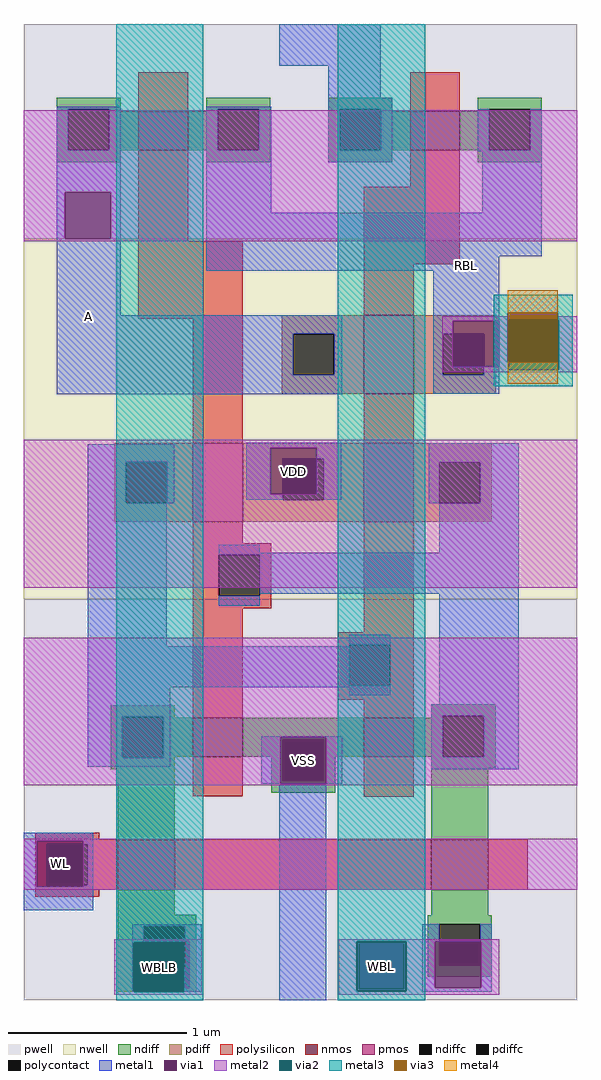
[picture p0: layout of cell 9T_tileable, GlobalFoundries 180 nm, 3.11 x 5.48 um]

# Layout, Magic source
magic
tech gf180mcuD
magscale 1 10
<< nwell >>
rect -143 -79 479 326
<< pwell >>
rect -143 326 479 567
rect -143 -529 479 -79
<< nmos >>
rect -14 425 42 469
rect 291 425 347 469
rect 47 -256 103 -212
rect 239 -256 295 -212
rect -37 -405 27 -349
rect 315 -405 379 -349
<< pmos >>
rect 239 152 295 240
rect 47 8 103 96
rect 239 8 295 96
<< ndiff >>
rect -106 471 -34 484
rect -106 425 -93 471
rect -47 469 -34 471
rect 62 471 134 484
rect 62 469 75 471
rect -47 425 -14 469
rect 42 425 75 469
rect 121 425 134 471
rect -106 412 -34 425
rect 62 412 134 425
rect 199 471 271 484
rect 199 425 212 471
rect 258 469 271 471
rect 367 471 439 484
rect 367 469 380 471
rect 258 425 291 469
rect 347 425 380 469
rect 426 425 439 471
rect 199 412 271 425
rect 367 412 439 425
rect -45 -211 27 -198
rect -45 -257 -32 -211
rect 14 -212 27 -211
rect 315 -210 387 -197
rect 315 -212 328 -210
rect 14 -256 47 -212
rect 103 -237 239 -212
rect 103 -256 148 -237
rect 14 -257 27 -256
rect -45 -270 27 -257
rect -37 -349 27 -270
rect 135 -283 148 -256
rect 194 -256 239 -237
rect 295 -256 328 -212
rect 374 -256 387 -210
rect 194 -283 207 -256
rect 135 -296 207 -283
rect 315 -268 387 -256
rect 315 -349 379 -268
rect -37 -433 27 -405
rect -37 -446 51 -433
rect 315 -434 379 -405
rect -37 -492 -8 -446
rect 38 -492 51 -446
rect -37 -520 51 -492
rect 311 -444 383 -434
rect 311 -490 324 -444
rect 370 -490 383 -444
rect 311 -503 383 -490
<< pdiff >>
rect 147 219 239 240
rect 147 173 160 219
rect 206 173 239 219
rect 147 152 239 173
rect 295 237 387 240
rect 295 219 391 237
rect 295 173 328 219
rect 374 179 391 219
rect 374 173 387 179
rect 295 152 387 173
rect -41 75 47 96
rect -41 29 -28 75
rect 18 29 47 75
rect -41 8 47 29
rect 103 79 239 96
rect 103 33 148 79
rect 194 33 239 79
rect 103 8 239 33
rect 295 75 383 96
rect 295 29 324 75
rect 370 29 383 75
rect 295 8 383 29
<< ndiffc >>
rect -93 425 -47 471
rect 75 425 121 471
rect 212 425 258 471
rect 380 425 426 471
rect -32 -257 14 -211
rect 148 -283 194 -237
rect 328 -256 374 -210
rect -8 -492 38 -446
rect 324 -490 370 -444
<< pdiffc >>
rect 160 173 206 219
rect 328 173 374 219
rect -28 29 18 75
rect 148 33 194 79
rect 324 29 370 75
<< polysilicon >>
rect -14 469 42 513
rect -14 323 42 425
rect 291 469 347 513
rect 291 384 347 425
rect -14 236 103 323
rect 239 297 347 384
rect 239 240 295 297
rect 47 96 103 236
rect 239 96 295 152
rect 47 -16 103 8
rect 47 -29 135 -16
rect 47 -75 76 -29
rect 122 -75 135 -29
rect 47 -89 135 -75
rect 47 -212 103 -89
rect 239 -116 295 8
rect 210 -130 295 -116
rect 210 -176 223 -130
rect 269 -176 295 -130
rect 210 -192 295 -176
rect 239 -212 295 -192
rect -130 -349 -58 -341
rect 47 -300 103 -256
rect 239 -301 295 -256
rect -130 -354 -37 -349
rect -130 -400 -117 -354
rect -71 -400 -37 -354
rect -130 -405 -37 -400
rect 27 -405 315 -349
rect 379 -405 423 -349
rect -130 -413 -58 -405
<< polycontact >>
rect 76 -75 122 -29
rect 223 -176 269 -130
rect -117 -400 -71 -354
<< metal1 >>
rect 144 520 258 567
rect 199 484 258 520
rect -106 471 -34 474
rect -106 425 -93 471
rect -47 425 -34 471
rect -106 378 -34 425
rect -106 326 -97 378
rect -45 326 -34 378
rect -106 240 -34 326
rect 62 471 135 474
rect 62 425 75 471
rect 121 425 135 471
rect 62 355 135 425
rect 199 471 271 484
rect 199 425 212 471
rect 258 425 271 471
rect 199 412 271 425
rect 367 425 380 471
rect 426 425 439 471
rect 367 424 439 425
rect 372 355 439 424
rect 62 306 439 355
rect 62 290 391 306
rect -106 219 215 240
rect -106 173 160 219
rect 206 173 215 219
rect -106 151 215 173
rect 317 234 391 290
rect 317 219 339 234
rect 317 173 328 219
rect 374 173 391 182
rect 317 152 391 173
rect -71 75 26 95
rect -71 29 -28 75
rect 18 29 26 75
rect 107 91 214 97
rect 107 39 134 91
rect 186 79 214 91
rect 107 33 148 39
rect 194 33 214 79
rect 312 75 413 96
rect 312 29 324 75
rect 370 29 413 75
rect -71 -132 18 29
rect 76 -27 122 -18
rect 324 -27 413 29
rect 76 -29 413 -27
rect 122 -73 413 -29
rect 76 -86 122 -75
rect 223 -130 269 -119
rect -71 -176 223 -132
rect -71 -178 269 -176
rect -71 -211 22 -178
rect 223 -187 269 -178
rect 324 -197 413 -73
rect -71 -257 -32 -211
rect 14 -257 22 -211
rect 315 -210 413 -197
rect -71 -267 22 -257
rect 124 -234 215 -233
rect 124 -286 145 -234
rect 197 -286 215 -234
rect 315 -256 328 -210
rect 374 -256 413 -210
rect 315 -270 413 -256
rect -143 -350 -65 -341
rect -143 -402 -128 -350
rect -76 -354 -65 -350
rect -71 -400 -65 -354
rect -76 -402 -65 -400
rect -143 -428 -65 -402
rect -21 -446 57 -444
rect -21 -463 -8 -446
rect 38 -463 57 -446
rect -21 -515 -9 -463
rect 43 -515 57 -463
rect -21 -520 57 -515
rect 144 -529 197 -286
rect 305 -463 324 -444
rect 370 -463 383 -444
rect 305 -515 319 -463
rect 371 -515 383 -463
rect 305 -520 383 -515
<< via1 >>
rect -97 326 -45 378
rect 339 219 391 234
rect 339 182 374 219
rect 374 182 391 219
rect 134 79 186 91
rect 134 39 148 79
rect 148 39 186 79
rect 145 -237 197 -234
rect 145 -283 148 -237
rect 148 -283 194 -237
rect 194 -283 197 -237
rect 145 -286 197 -283
rect -128 -354 -76 -350
rect -128 -400 -117 -354
rect -117 -400 -76 -354
rect -128 -402 -76 -400
rect -9 -492 -8 -463
rect -8 -492 38 -463
rect 38 -492 43 -463
rect -9 -515 43 -492
rect 319 -490 324 -463
rect 324 -490 370 -463
rect 370 -490 371 -463
rect 319 -515 371 -490
<< metal2 >>
rect -143 378 479 470
rect -143 326 -97 378
rect -45 326 479 378
rect -143 323 479 326
rect 327 235 479 239
rect 327 234 402 235
rect 327 182 339 234
rect 391 182 402 234
rect 327 179 402 182
rect 458 179 479 235
rect 327 176 479 179
rect -143 91 479 100
rect -143 39 134 91
rect 186 39 479 91
rect -143 -66 479 39
rect -143 -234 479 -122
rect -143 -286 145 -234
rect 197 -286 479 -234
rect -143 -288 479 -286
rect -143 -350 479 -348
rect -143 -402 -128 -350
rect -76 -402 479 -350
rect -143 -405 479 -402
rect -41 -463 59 -461
rect -41 -464 -9 -463
rect -41 -520 -19 -464
rect 43 -515 59 -463
rect 37 -520 59 -515
rect -41 -523 59 -520
rect 211 -463 391 -461
rect 211 -519 231 -463
rect 287 -515 319 -463
rect 371 -515 391 -463
rect 287 -519 391 -515
rect 211 -523 391 -519
<< via2 >>
rect 402 179 458 235
rect -19 -515 -9 -464
rect -9 -515 37 -464
rect -19 -520 37 -515
rect 231 -519 287 -463
<< metal3 >>
rect -39 -464 59 567
rect -39 -520 -19 -464
rect 37 -520 59 -464
rect -39 -529 59 -520
rect 210 -463 308 567
rect 385 243 474 263
rect 385 187 401 243
rect 457 235 474 243
rect 385 179 402 187
rect 458 179 474 235
rect 385 160 474 179
rect 210 -519 231 -463
rect 287 -519 308 -463
rect 210 -529 308 -519
<< via3 >>
rect 401 235 457 243
rect 401 187 402 235
rect 402 187 457 235
<< metal4 >>
rect 401 243 457 268
rect 401 163 457 187
<< labels >>
flabel metal2 s -128 -402 -76 -350 0 FreeSans 400 0 0 0 WL
port 1 nsew
flabel metal1 s -106 151 -34 326 0 FreeSans 400 0 0 0 A
port 2 nsew
flabel metal1 s 317 237 391 355 0 FreeSans 400 0 0 0 RBL
port 3 nsew
flabel nwell s 119 33 202 97 0 FreeSans 400 0 0 0 VDD
port 4 nsew
flabel metal2 s 145 -286 197 -233 0 FreeSans 400 0 0 0 VSS
port 5 nsew
flabel metal3 s -29 -520 48 -464 0 FreeSans 400 0 0 0 WBLB
port 6 nsew
flabel metal2 s 259 -491 259 -491 0 FreeSans 400 0 0 0 WBL
port 7 nsew
<< end >>
